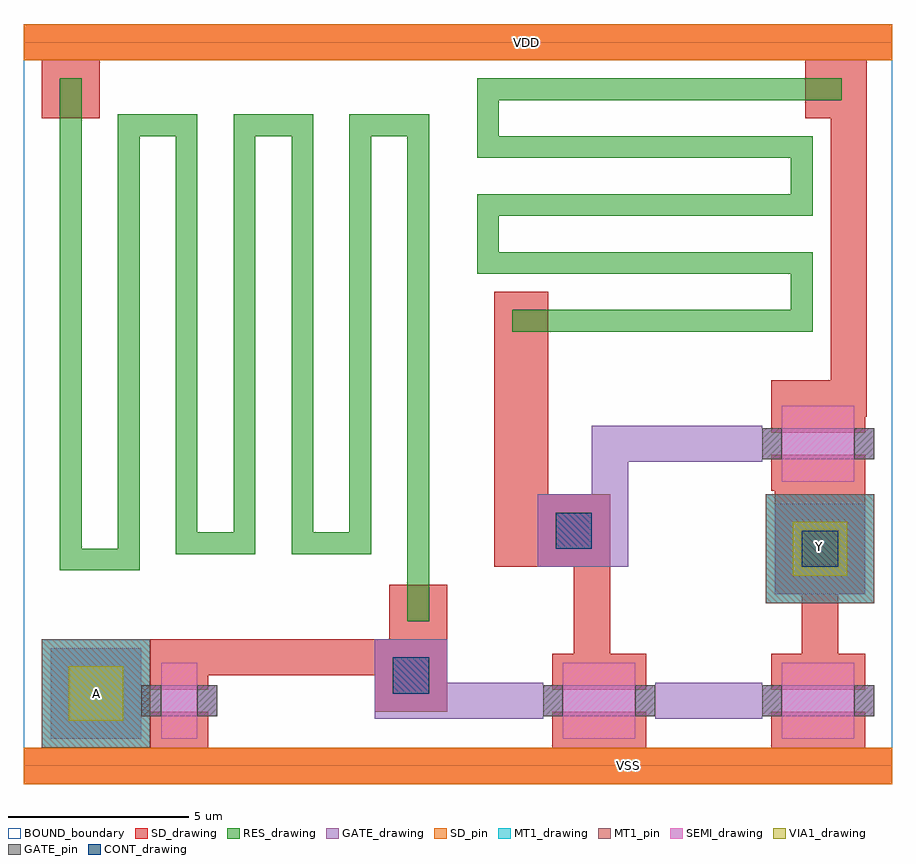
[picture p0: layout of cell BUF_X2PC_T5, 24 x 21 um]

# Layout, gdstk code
from math import pi, radians
import gdstk
lib = gdstk.Library(unit=1e-6, precision=1e-09)
def R(c, l, rs):  # rectangles x0, y0, x1, y1
    for r in rs: c.add(gdstk.rectangle(r[:2], r[2:], *l))
def P(c, l, *ps):  # polygons
    for p in ps: c.add(gdstk.Polygon(p, *l))
RES_drawing = (1, 0)
SEMI_drawing = (3, 0)
SD_drawing = (10, 0)
SD_pin = (10, 3)
GATE_drawing = (11, 0)
GATE_pin = (11, 3)
MT1_drawing = (20, 0)
MT1_pin = (20, 3)
CONT_drawing = (30, 0)
VIA1_drawing = (41, 0)
BOUND_boundary = (150, 5)

nch_cdns_772544863810 = lib.new_cell('nch_CDNS_772544863810')
R(nch_cdns_772544863810, SEMI_drawing, [(-1.05,-0.5,1.05,0.5)])
R(nch_cdns_772544863810, SD_drawing, [(-1.3,-0.8,-0.3,0.8), (0.3,-0.8,1.3,0.8)])
R(nch_cdns_772544863810, GATE_drawing, [(-0.425,-1.05,0.425,1.05)])
R(nch_cdns_772544863810, GATE_pin, [(-0.425,-1.05,0.425,-0.5), (-0.425,0.5,0.425,1.05)])

nch_cdns_772544863811 = lib.new_cell('nch_CDNS_772544863811')
R(nch_cdns_772544863811, SEMI_drawing, [(-1.05,-1,1.05,1)])
R(nch_cdns_772544863811, SD_drawing, [(-1.3,-1.3,-0.3,1.3), (0.3,-1.3,1.3,1.3)])
R(nch_cdns_772544863811, GATE_drawing, [(-0.425,-1.55,0.425,1.55)])
R(nch_cdns_772544863811, GATE_pin, [(-0.425,-1.55,0.425,-1), (-0.425,1,0.425,1.55)])

gate_mt1_cdns_7725448638 = lib.new_cell('GATE_MT1_CDNS_772544863810')
R(gate_mt1_cdns_7725448638, GATE_drawing, [(-1.25,-1.25,1.25,1.25)])
R(gate_mt1_cdns_7725448638, MT1_drawing, [(-1.25,-1.25,1.25,1.25)])
R(gate_mt1_cdns_7725448638, VIA1_drawing, [(-0.75,-0.75,0.75,0.75)])

sd_gate_cdns_77254486381 = lib.new_cell('SD_GATE_CDNS_772544863811')
R(sd_gate_cdns_77254486381, SD_drawing, [(-1,-1,1,1)])
R(sd_gate_cdns_77254486381, GATE_drawing, [(-1,-1,1,1)])
R(sd_gate_cdns_77254486381, CONT_drawing, [(-0.5,-0.5,0.5,0.5)])

buf_x2pc_t5 = lib.new_cell('BUF_X2PC_T5')
R(buf_x2pc_t5, SD_drawing, [(10.1,3.35,11.7,5), (20.75,4.75,23.25,7.25), (13,5.5,14.5,13.1), (0.5,17.9,2.1,19.5), (21.6,17.9,23.3,19.5)])
R(buf_x2pc_t5, SD_pin, [(0,-0.5,24,0.5), (0,19.5,24,20.5)])
P(buf_x2pc_t5, GATE_drawing, [(17.55,2.3),(17.55,1.3),(17.45,1.3),(17.45,1.425),(17.4,1.425),(17.4,2.175),(17.45,2.175),(17.45,2.3)],
  [(3.15,2.325),(3.15,1.325),(3.25,1.325),(3.25,1.425),(3.3,1.425),(3.3,2.175),(3.25,2.175),(3.25,2.325)],
  [(20.3,2.3),(20.3,1.3),(20.4,1.3),(20.4,1.425),(20.45,1.425),(20.45,2.175),(20.4,2.175),(20.4,2.3)],
  [(20.3,9.4),(20.3,8.4),(20.4,8.4),(20.4,8.525),(20.45,8.525),(20.45,9.275),(20.4,9.275),(20.4,9.4)],
  [(14.25,2.3),(14.25,1.3),(14.35,1.3),(14.35,1.425),(14.4,1.425),(14.4,2.175),(14.35,2.175),(14.35,2.3)])
R(buf_x2pc_t5, MT1_drawing, [(0.5,0.5,3.5,3.5), (20.5,4.5,23.5,7.5)])
R(buf_x2pc_t5, MT1_pin, [(0.5,0.5,3.5,3.5), (20.5,4.5,23.5,7.5)])
R(buf_x2pc_t5, BOUND_boundary, [(0,0,24,20)])
buf_x2pc_t5.add(gdstk.FlexPath([(20.65,10.15),(22.8,10.15)], 1, ends=(0, 0.5), simple_path=True, layer=10, datatype=0))  # SD_drawing
buf_x2pc_t5.add(gdstk.FlexPath([(4.2,3.1),(4.2,3.5)], 1.4, ends="flush", simple_path=True, layer=10, datatype=0))  # SD_drawing
buf_x2pc_t5.add(gdstk.FlexPath([(3.6,3),(9.8,3)], 1, ends="flush", simple_path=True, layer=10, datatype=0))  # SD_drawing
buf_x2pc_t5.add(gdstk.FlexPath([(22,2.1),(22,5.6)], 1, ends="flush", simple_path=True, layer=10, datatype=0))  # SD_drawing
buf_x2pc_t5.add(gdstk.FlexPath([(22.8,10.15),(22.8,19.5)], 1, ends=(0.5, 0), simple_path=True, layer=10, datatype=0))  # SD_drawing
buf_x2pc_t5.add(gdstk.FlexPath([(15.7,2.9),(15.7,5.8)], 1, ends=(0.5, 0), simple_path=True, layer=10, datatype=0))  # SD_drawing
buf_x2pc_t5.add(gdstk.FlexPath([(23.25,7.3),(20.75,7.3)], 1, ends="flush", simple_path=True, layer=10, datatype=0))  # SD_drawing
buf_x2pc_t5.add(gdstk.FlexPath([(0,20),(24,20)], 1, ends="flush", simple_path=True, layer=10, datatype=0))  # SD_drawing
buf_x2pc_t5.add(gdstk.FlexPath([(0,0),(24,0)], 1, ends="flush", simple_path=True, layer=10, datatype=0))  # SD_drawing
buf_x2pc_t5.add(gdstk.FlexPath([(1.3,19),(1.3,5.7),(2.9,5.7),(2.9,17.7),(4.5,17.7),(4.5,6.15),(6.1,6.15),(6.1,17.7),(7.7,17.7),(7.7,6.15),(9.3,6.15),(9.3,17.7),(10.9,17.7),(10.9,4)], 0.6, ends="flush", simple_path=True, layer=1, datatype=0))  # RES_drawing
buf_x2pc_t5.add(gdstk.FlexPath([(22.6,18.7),(12.825,18.7),(12.825,17.1),(21.5,17.1),(21.5,15.5),(12.825,15.5),(12.825,13.9),(21.5,13.9),(21.5,12.3),(13.5,12.3)], 0.6, ends="flush", simple_path=True, layer=1, datatype=0))  # RES_drawing
buf_x2pc_t5.add(gdstk.FlexPath([(20.3,8.9),(16.2,8.9)], 1, ends=(0, 0.5), simple_path=True, layer=11, datatype=0))  # GATE_drawing
buf_x2pc_t5.add(gdstk.FlexPath([(16.2,8.9),(16.2,6)], 1, ends="extended", simple_path=True, layer=11, datatype=0))  # GATE_drawing
buf_x2pc_t5.add(gdstk.FlexPath([(20.3,1.8),(17.55,1.8)], 1, ends="flush", simple_path=True, layer=11, datatype=0))  # GATE_drawing
buf_x2pc_t5.add(gdstk.FlexPath([(9.7,1.8),(14.25,1.8)], 1, ends="flush", simple_path=True, layer=11, datatype=0))  # GATE_drawing
buf_x2pc_t5.add(gdstk.Reference(nch_cdns_772544863810, (4.3,1.8), rotation=pi/2))
buf_x2pc_t5.add(gdstk.Reference(nch_cdns_772544863811, (15.9,1.8), rotation=pi/2, x_reflection=True))
buf_x2pc_t5.add(gdstk.Reference(nch_cdns_772544863811, (21.95,8.9), rotation=pi/2))
buf_x2pc_t5.add(gdstk.Reference(nch_cdns_772544863811, (21.95,1.8), rotation=pi/2, x_reflection=True))
buf_x2pc_t5.add(gdstk.Reference(gate_mt1_cdns_7725448638, (22,6)))
buf_x2pc_t5.add(gdstk.Reference(gate_mt1_cdns_7725448638, (2,2)))
buf_x2pc_t5.add(gdstk.Reference(sd_gate_cdns_77254486381, (15.2,6.5), rotation=pi, x_reflection=True))
buf_x2pc_t5.add(gdstk.Reference(sd_gate_cdns_77254486381, (10.7,2.5)))
buf_x2pc_t5.add(gdstk.Reference(sd_gate_cdns_77254486381, (22,6)))
buf_x2pc_t5.add(gdstk.Label('VSS', (16.7,0), layer=10, texttype=3))
buf_x2pc_t5.add(gdstk.Label('VDD', (13.9,20), layer=10, texttype=3))
buf_x2pc_t5.add(gdstk.Label('Y', (22,6.05), layer=20, texttype=3))
buf_x2pc_t5.add(gdstk.Label('A', (2,2), layer=20, texttype=3))

lib.write_gds('BUF_X2PC_T5.gds')
